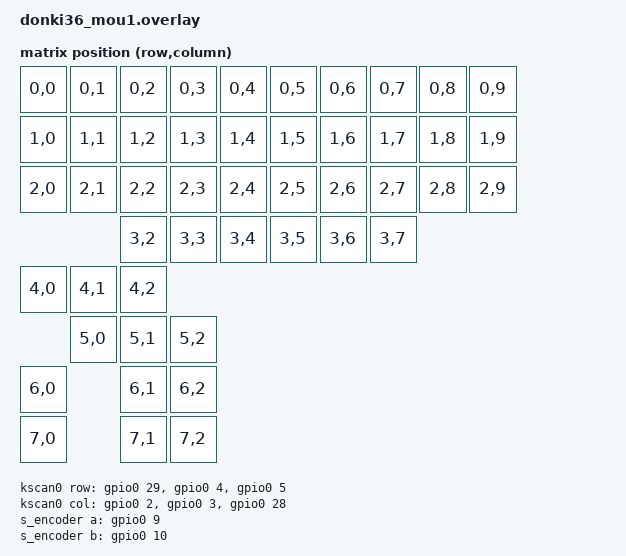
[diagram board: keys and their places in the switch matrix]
/*
 * Copyright (c) 2020 Pete Johanson
 *
 * SPDX-License-Identifier: MIT
 */

#include <dt-bindings/zmk/matrix_transform.h>

/ {
	chosen {
		zmk,kscan = &kscan0;
		zmk,matrix-transform = &default_transform;
 		// zephyr,display = &oled;
	};

	default_transform: keymap_transform_0 {
		compatible = "zmk,matrix-transform";
		columns = <10>;
		rows = <8>;
		map = <
RC(0,0) RC(0,1) RC(0,2) RC(0,3) RC(0,4)  RC(0,5) RC(0,6) RC(0,7) RC(0,8) RC(0,9)
RC(1,0) RC(1,1) RC(1,2) RC(1,3) RC(1,4)  RC(1,5) RC(1,6) RC(1,7) RC(1,8) RC(1,9)
RC(2,0) RC(2,1) RC(2,2) RC(2,3) RC(2,4)  RC(2,5) RC(2,6) RC(2,7) RC(2,8) RC(2,9)
                RC(3,2) RC(3,3) RC(3,4)  RC(3,5) RC(3,6) RC(3,7)
RC(4,0) RC(4,1) RC(4,2)
// D0 P0.2   D1 P0.3   D2 P0.28
	 RC(5,0)   RC(5,1)   RC(5,2)  // D3 P0.29
   RC(6,0)   RC(6,1)   RC(6,2)  // D4 P0.4
   RC(7,0)   RC(7,1)   RC(7,2)  // D5 P0.5
		>;
		row-offset = <5>;
		col-offset = <0>;
	};

	kscan0: kscan {
		compatible = "zmk,kscan-gpio-matrix";
		label = "KSCAN";
		diode-direction = "col2row";
		wakeup-source;
		row-gpios
			= <&gpio0 29 (GPIO_ACTIVE_HIGH | GPIO_PULL_DOWN)>
			, <&gpio0 4 (GPIO_ACTIVE_HIGH | GPIO_PULL_DOWN)>
			, <&gpio0 5 (GPIO_ACTIVE_HIGH | GPIO_PULL_DOWN)>
			;
		col-gpios
			= <&gpio0 2 GPIO_ACTIVE_HIGH>
			, <&gpio0 3 GPIO_ACTIVE_HIGH>
		  , <&gpio0 28 GPIO_ACTIVE_HIGH>
			;
	};
};

#include "donki36__esb_addr.dtsi"

#include <input/processors/report_rate_limit.dtsi>
#include <input/processors/xyz.dtsi>

#include "donki36_mou1_paw3395.dtsi"
#include "donki36_zplit.dtsi"

&tball0_split { status = "disabled"; };
&tball1_split { status = "disabled"; };
&tball2_split { status = "disabled"; };
&tpoint0_split { status = "disabled"; };
&tpad0_split { status = "disabled"; };
&mou0_split { status = "disabled"; };
&mou1_split { device = <&mou1>; input-processors = <&zip_xyz>; };
&mou2_split { status = "disabled"; };
&mou2_split_alt { status = "disabled"; };

/{
	s_encoder: s_encoder {
		compatible = "alps,ec11";
    status = "okay";
		// NFC pins in nRF52 series: P0.09 and P0.10
		a-gpios = <&gpio0 9  (GPIO_ACTIVE_HIGH | GPIO_PULL_UP)>;
		b-gpios = <&gpio0 10 (GPIO_ACTIVE_HIGH | GPIO_PULL_UP)>;
		steps = <36>; // <36>; for 23mm wheel, <48>; for 19mm wheel
	};
	sensors: sensors {
		compatible = "zmk,keymap-sensors";
		status = "okay";
		sensors = <&s_encoder>;
		triggers-per-rotation = <12>; // EC05 encoder
	};
};
